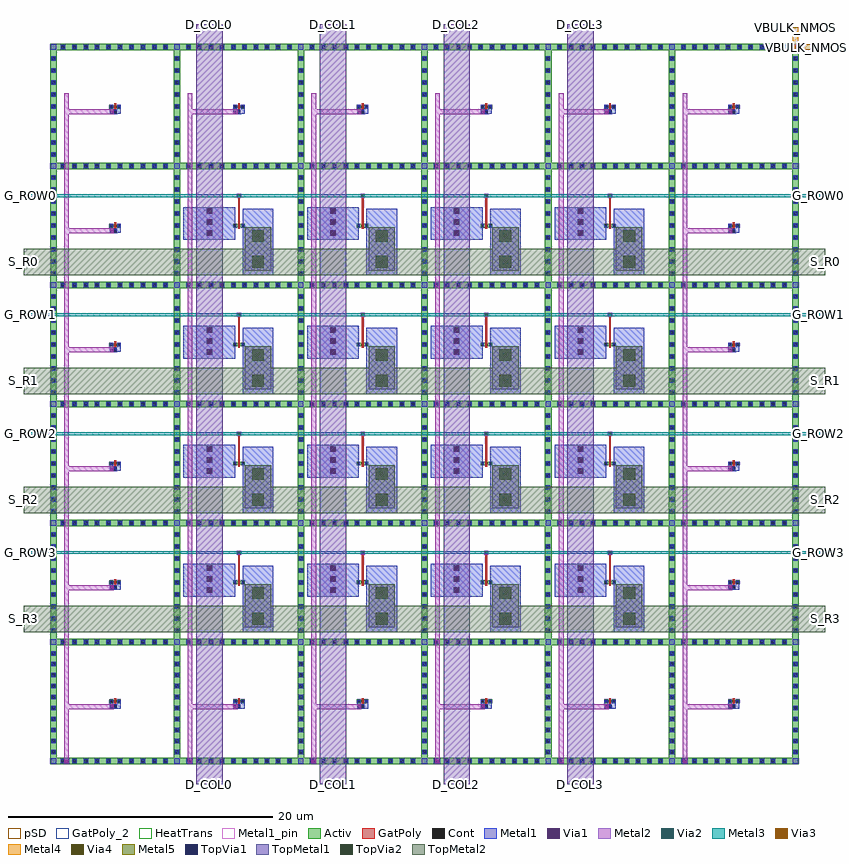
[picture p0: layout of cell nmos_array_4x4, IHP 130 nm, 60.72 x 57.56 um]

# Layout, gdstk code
import gdstk
lib = gdstk.Library(unit=1e-6, precision=1e-09)
def R(c, l, rs):  # rectangles x0, y0, x1, y1
    for r in rs: c.add(gdstk.rectangle(r[:2], r[2:], *l))
def A(c, l, x, y, w, h, nx, ny, dx, dy):  # array of equal rectangles
    R(c, l, [(x+i*dx, y+j*dy, x+i*dx+w, y+j*dy+h) for i in range(nx) for j in range(ny)])
Activ = (1, 0)
GatPoly = (5, 0)
GatPoly_2 = (5, 2)
Cont = (6, 0)
Metal1 = (8, 0)
Metal1_pin = (8, 2)
Metal2 = (10, 0)
pSD = (14, 0)
Via1 = (19, 0)
Via2 = (29, 0)
Metal3 = (30, 0)
Via3 = (49, 0)
Metal4 = (50, 0)
HeatTrans = (51, 0)
Via4 = (66, 0)
Metal5 = (67, 0)
TopVia1 = (125, 0)
TopMetal1 = (126, 0)
TopVia2 = (133, 0)
TopMetal2 = (134, 0)

nmos = lib.new_cell('nmos')
R(nmos, Activ, [(0,0,0.3,0.3), (0.57,0,0.87,0.3), (0,0.075,0.87,0.225)])
R(nmos, GatPoly, [(0.37,-0.105,0.5,0.405)])
R(nmos, GatPoly_2, [(0.37,-0.105,0.5,0.405)])
R(nmos, Cont, [(0.07,0.07,0.23,0.23), (0.64,0.07,0.8,0.23)])
R(nmos, Metal1, [(0.07,0.02,0.23,0.28), (0.64,0.02,0.8,0.28)])
R(nmos, Metal1_pin, [(0.07,0.02,0.23,0.28), (0.64,0.02,0.8,0.28)])
R(nmos, HeatTrans, [(0.37,-0.105,0.5,0.405)])
nmos.add(gdstk.Label('nmos', (0.435,0.15), layer=63, texttype=0))
nmos.add(gdstk.Label('nmos', (0.435,0.15), layer=51, texttype=0))

nmos_array_4x4 = lib.new_cell('nmos_array_4x4')
A(nmos_array_4x4, Activ, 0, 0, 0.5, 54.56, 7, 1, 9.369, 0)
A(nmos_array_4x4, Activ, 0, 0, 56.714, 0.5, 1, 7, 0, 9.01)
A(nmos_array_4x4, GatPoly, 4.869, 4.355, 0.13, 0.2, 6, 2, 9.369, 45.05)
A(nmos_array_4x4, GatPoly, 4.869, 13.365, 0.13, 0.2, 1, 4, 0, 9.01)
A(nmos_array_4x4, GatPoly, 51.714, 13.365, 0.13, 0.2, 1, 4, 0, 9.01)
A(nmos_array_4x4, GatPoly, 14.238, 14.02, 0.13, 2, 4, 4, 9.369, 9.01)
A(nmos_array_4x4, Cont, 0.864, 0.14, 0.22, 0.22, 10, 7, 0.865, 9.01)
A(nmos_array_4x4, Cont, 10.369, 0.14, 0.22, 0.22, 1, 7, 0, 9.01)
A(nmos_array_4x4, Cont, 11.218, 0.14, 0.22, 0.22, 9, 7, 0.85, 9.01)
A(nmos_array_4x4, Cont, 19.738, 0.14, 0.22, 0.22, 1, 7, 0, 9.01)
A(nmos_array_4x4, Cont, 20.587, 0.14, 0.22, 0.22, 9, 7, 0.85, 9.01)
A(nmos_array_4x4, Cont, 29.107, 0.14, 0.22, 0.22, 1, 7, 0, 9.01)
A(nmos_array_4x4, Cont, 29.956, 0.14, 0.22, 0.22, 9, 7, 0.85, 9.01)
A(nmos_array_4x4, Cont, 38.476, 0.14, 0.22, 0.22, 1, 7, 0, 9.01)
A(nmos_array_4x4, Cont, 39.325, 0.14, 0.22, 0.22, 9, 7, 0.85, 9.01)
A(nmos_array_4x4, Cont, 47.845, 0.14, 0.22, 0.22, 1, 7, 0, 9.01)
A(nmos_array_4x4, Cont, 48.694, 0.14, 0.22, 0.22, 9, 7, 0.85, 9.01)
A(nmos_array_4x4, Cont, 0.14, 0.829, 0.22, 0.22, 7, 10, 9.369, 0.829)
A(nmos_array_4x4, Cont, 4.824, 4.245, 0.22, 0.22, 6, 2, 9.369, 45.05)
A(nmos_array_4x4, Cont, 0.14, 10.01, 0.22, 0.22, 7, 4, 9.369, 0.911)
A(nmos_array_4x4, Cont, 4.824, 13.255, 0.22, 0.22, 1, 4, 0, 9.01)
A(nmos_array_4x4, Cont, 51.669, 13.255, 0.22, 0.22, 1, 4, 0, 9.01)
A(nmos_array_4x4, Cont, 0.14, 13.655, 0.22, 0.22, 7, 4, 9.369, 0.911)
A(nmos_array_4x4, Cont, 14.193, 15.91, 0.22, 0.22, 4, 4, 9.369, 9.01)
A(nmos_array_4x4, Cont, 0.14, 17.3, 0.22, 0.22, 7, 2, 9.369, 1.72)
A(nmos_array_4x4, Cont, 0.14, 19.931, 0.22, 0.22, 7, 3, 9.369, 0.911)
A(nmos_array_4x4, Cont, 0.14, 22.665, 0.22, 0.22, 7, 4, 9.369, 0.911)
A(nmos_array_4x4, Cont, 0.14, 26.31, 0.22, 0.22, 7, 2, 9.369, 1.72)
A(nmos_array_4x4, Cont, 0.14, 28.941, 0.22, 0.22, 7, 3, 9.369, 0.911)
A(nmos_array_4x4, Cont, 0.14, 31.675, 0.22, 0.22, 7, 4, 9.369, 0.911)
A(nmos_array_4x4, Cont, 0.14, 35.32, 0.22, 0.22, 7, 2, 9.369, 1.72)
A(nmos_array_4x4, Cont, 0.14, 37.951, 0.22, 0.22, 7, 3, 9.369, 0.911)
A(nmos_array_4x4, Cont, 0.14, 40.685, 0.22, 0.22, 7, 4, 9.369, 0.911)
A(nmos_array_4x4, Cont, 0.14, 44.33, 0.22, 0.22, 7, 2, 9.369, 1.72)
A(nmos_array_4x4, Cont, 0.14, 46.961, 0.22, 0.22, 7, 3, 9.369, 0.911)
A(nmos_array_4x4, Cont, 0.14, 49.695, 0.22, 0.22, 7, 4, 9.369, 0.911)
A(nmos_array_4x4, Cont, 0.14, 53.34, 0.22, 0.22, 7, 1, 9.369, 0)
A(nmos_array_4x4, Metal1, 0.804, 0.08, 0.34, 0.34, 10, 7, 0.865, 9.01)
A(nmos_array_4x4, Metal1, 10.309, 0.08, 0.34, 0.34, 1, 7, 0, 9.01)
A(nmos_array_4x4, Metal1, 11.158, 0.08, 0.34, 0.34, 9, 7, 0.85, 9.01)
A(nmos_array_4x4, Metal1, 19.678, 0.08, 0.34, 0.34, 1, 7, 0, 9.01)
A(nmos_array_4x4, Metal1, 20.527, 0.08, 0.34, 0.34, 9, 7, 0.85, 9.01)
A(nmos_array_4x4, Metal1, 29.047, 0.08, 0.34, 0.34, 1, 7, 0, 9.01)
A(nmos_array_4x4, Metal1, 29.896, 0.08, 0.34, 0.34, 9, 7, 0.85, 9.01)
A(nmos_array_4x4, Metal1, 38.416, 0.08, 0.34, 0.34, 1, 7, 0, 9.01)
A(nmos_array_4x4, Metal1, 39.265, 0.08, 0.34, 0.34, 9, 7, 0.85, 9.01)
A(nmos_array_4x4, Metal1, 47.785, 0.08, 0.34, 0.34, 1, 7, 0, 9.01)
A(nmos_array_4x4, Metal1, 48.634, 0.08, 0.34, 0.34, 9, 7, 0.85, 9.01)
A(nmos_array_4x4, Metal1, 0.08, 0.769, 0.34, 0.34, 7, 10, 9.369, 0.829)
A(nmos_array_4x4, Metal1, 4.764, 4.185, 0.34, 0.34, 6, 2, 9.369, 45.05)
A(nmos_array_4x4, Metal1, 4.509, 4.215, 0.28, 0.68, 1, 6, 0, 9.01)
A(nmos_array_4x4, Metal1, 4.509, 4.215, 0.85, 0.28, 6, 2, 9.369, 45.05)
A(nmos_array_4x4, Metal1, 5.079, 4.215, 0.28, 0.68, 1, 6, 0, 9.01)
A(nmos_array_4x4, Metal1, 51.354, 4.215, 0.28, 0.68, 1, 6, 0, 9.01)
A(nmos_array_4x4, Metal1, 51.924, 4.215, 0.28, 0.68, 1, 6, 0, 9.01)
A(nmos_array_4x4, Metal1, 0.05, 9.06, 0.4, 0.4, 7, 6, 9.369, 9.01)
A(nmos_array_4x4, Metal1, 0.08, 9.95, 0.34, 0.34, 7, 4, 9.369, 0.911)
A(nmos_array_4x4, Metal1, 14.588, 10.01, 2.32, 5.02, 4, 4, 9.369, 9.01)
A(nmos_array_4x4, Metal1, 10.098, 12.671, 3.92, 2.499, 4, 4, 9.369, 9.01)
A(nmos_array_4x4, Metal1, 4.764, 13.195, 0.34, 0.34, 1, 4, 0, 9.01)
A(nmos_array_4x4, Metal1, 51.609, 13.195, 0.34, 0.34, 1, 4, 0, 9.01)
A(nmos_array_4x4, Metal1, 4.509, 13.225, 0.85, 0.28, 1, 4, 0, 9.01)
A(nmos_array_4x4, Metal1, 51.354, 13.225, 0.85, 0.28, 1, 4, 0, 9.01)
A(nmos_array_4x4, Metal1, 0.08, 13.595, 0.34, 0.34, 7, 4, 9.369, 0.911)
A(nmos_array_4x4, Metal1, 14.143, 15.86, 0.32, 0.32, 4, 4, 9.369, 9.01)
A(nmos_array_4x4, Metal1, 0.08, 17.24, 0.34, 0.34, 7, 2, 9.369, 1.72)
A(nmos_array_4x4, Metal1, 0.08, 19.871, 0.34, 0.34, 7, 3, 9.369, 0.911)
A(nmos_array_4x4, Metal1, 0.08, 22.605, 0.34, 0.34, 7, 4, 9.369, 0.911)
A(nmos_array_4x4, Metal1, 0.08, 26.25, 0.34, 0.34, 7, 2, 9.369, 1.72)
A(nmos_array_4x4, Metal1, 0.08, 28.881, 0.34, 0.34, 7, 3, 9.369, 0.911)
A(nmos_array_4x4, Metal1, 0.08, 31.615, 0.34, 0.34, 7, 4, 9.369, 0.911)
A(nmos_array_4x4, Metal1, 0.08, 35.26, 0.34, 0.34, 7, 2, 9.369, 1.72)
A(nmos_array_4x4, Metal1, 0.08, 37.891, 0.34, 0.34, 7, 3, 9.369, 0.911)
A(nmos_array_4x4, Metal1, 0.08, 40.625, 0.34, 0.34, 7, 4, 9.369, 0.911)
A(nmos_array_4x4, Metal1, 0.08, 44.27, 0.34, 0.34, 7, 2, 9.369, 1.72)
A(nmos_array_4x4, Metal1, 0.08, 46.901, 0.34, 0.34, 7, 3, 9.369, 0.911)
A(nmos_array_4x4, Metal1, 0.08, 49.635, 0.34, 0.34, 7, 4, 9.369, 0.911)
A(nmos_array_4x4, Metal1, 0.08, 53.28, 0.34, 0.34, 7, 1, 9.369, 0)
R(nmos_array_4x4, Metal1, [(0.05,0.05,0.45,0.45), (1.034,0.05,1.434,0.45), (9.419,0.05,9.819,0.45), (10.403,0.05,10.803,0.45), (18.788,0.05,19.188,0.45), (19.772,0.05,20.172,0.45), (28.157,0.05,28.557,0.45), (29.141,0.05,29.541,0.45), (37.526,0.05,37.926,0.45), (38.51,0.05,38.91,0.45), (46.895,0.05,47.295,0.45), (47.879,0.05,48.279,0.45), (56.264,0.05,56.664,0.45), (13.878,4.215,14.158,4.895), (14.448,4.215,14.728,4.895), (23.247,4.215,23.527,4.895), (23.817,4.215,24.097,4.895), (32.616,4.215,32.896,4.895), (33.186,4.215,33.466,4.895), (41.985,4.215,42.265,4.895), (42.555,4.215,42.835,4.895), (13.878,49.265,14.158,49.945), (14.448,49.265,14.728,49.945), (23.247,49.265,23.527,49.945), (23.817,49.265,24.097,49.945), (32.616,49.265,32.896,49.945), (33.186,49.265,33.466,49.945), (41.985,49.265,42.265,49.945), (42.555,49.265,42.835,49.945)])
A(nmos_array_4x4, Metal2, 1.054, 0.07, 0.36, 50.735, 6, 1, 9.369, 0)
A(nmos_array_4x4, Metal2, 1.054, 4.175, 3.775, 0.36, 6, 2, 9.369, 45.05)
A(nmos_array_4x4, Metal2, 15.593, 10.855, 0.31, 0.31, 4, 2, 9.369, 1.96)
A(nmos_array_4x4, Metal2, 11.903, 13.035, 0.31, 0.31, 4, 3, 9.369, 0.84)
A(nmos_array_4x4, Metal2, 1.054, 13.185, 3.775, 0.36, 1, 4, 0, 9.01)
A(nmos_array_4x4, Metal2, 47.899, 13.185, 3.775, 0.36, 1, 4, 0, 9.01)
A(nmos_array_4x4, Metal2, 14.158, 15.875, 0.29, 0.29, 4, 4, 9.369, 9.01)
A(nmos_array_4x4, Metal2, 15.593, 19.865, 0.31, 0.31, 4, 2, 9.369, 1.96)
A(nmos_array_4x4, Metal2, 11.903, 22.045, 0.31, 0.31, 4, 3, 9.369, 0.84)
A(nmos_array_4x4, Metal2, 15.593, 28.875, 0.31, 0.31, 4, 2, 9.369, 1.96)
A(nmos_array_4x4, Metal2, 11.903, 31.055, 0.31, 0.31, 4, 3, 9.369, 0.84)
A(nmos_array_4x4, Metal2, 15.593, 37.885, 0.31, 0.31, 4, 2, 9.369, 1.96)
A(nmos_array_4x4, Metal2, 11.903, 40.065, 0.31, 0.31, 4, 3, 9.369, 0.84)
R(nmos_array_4x4, Metal2, [(56.284,54.13,56.644,54.49)])
A(nmos_array_4x4, pSD, 0, 0, 0.5, 54.56, 7, 1, 9.369, 0)
A(nmos_array_4x4, pSD, 0, 0, 56.714, 0.5, 1, 7, 0, 9.01)
A(nmos_array_4x4, Via1, 1.139, 0.155, 0.19, 0.19, 6, 1, 9.369, 0)
A(nmos_array_4x4, Via1, 4.554, 4.26, 0.19, 0.19, 6, 2, 9.369, 45.05)
A(nmos_array_4x4, Via1, 15.653, 10.915, 0.19, 0.19, 4, 2, 9.369, 1.96)
A(nmos_array_4x4, Via1, 11.963, 13.095, 0.19, 0.19, 4, 3, 9.369, 0.84)
A(nmos_array_4x4, Via1, 4.554, 13.27, 0.19, 0.19, 1, 4, 0, 9.01)
A(nmos_array_4x4, Via1, 51.399, 13.27, 0.19, 0.19, 1, 4, 0, 9.01)
A(nmos_array_4x4, Via1, 14.208, 15.925, 0.19, 0.19, 4, 4, 9.369, 9.01)
A(nmos_array_4x4, Via1, 15.653, 19.925, 0.19, 0.19, 4, 2, 9.369, 1.96)
A(nmos_array_4x4, Via1, 11.963, 22.105, 0.19, 0.19, 4, 3, 9.369, 0.84)
A(nmos_array_4x4, Via1, 15.653, 28.935, 0.19, 0.19, 4, 2, 9.369, 1.96)
A(nmos_array_4x4, Via1, 11.963, 31.115, 0.19, 0.19, 4, 3, 9.369, 0.84)
A(nmos_array_4x4, Via1, 15.653, 37.945, 0.19, 0.19, 4, 2, 9.369, 1.96)
A(nmos_array_4x4, Via1, 11.963, 40.125, 0.19, 0.19, 4, 3, 9.369, 0.84)
R(nmos_array_4x4, Via1, [(56.369,54.215,56.559,54.405)])
A(nmos_array_4x4, Via2, 15.653, 10.915, 0.19, 0.19, 4, 2, 9.369, 1.96)
A(nmos_array_4x4, Via2, 11.963, 13.095, 0.19, 0.19, 4, 3, 9.369, 0.84)
A(nmos_array_4x4, Via2, 14.208, 15.925, 0.19, 0.19, 4, 4, 9.369, 9.01)
A(nmos_array_4x4, Via2, 15.653, 19.925, 0.19, 0.19, 4, 2, 9.369, 1.96)
A(nmos_array_4x4, Via2, 11.963, 22.105, 0.19, 0.19, 4, 3, 9.369, 0.84)
A(nmos_array_4x4, Via2, 15.653, 28.935, 0.19, 0.19, 4, 2, 9.369, 1.96)
A(nmos_array_4x4, Via2, 11.963, 31.115, 0.19, 0.19, 4, 3, 9.369, 0.84)
A(nmos_array_4x4, Via2, 15.653, 37.945, 0.19, 0.19, 4, 2, 9.369, 1.96)
A(nmos_array_4x4, Via2, 11.963, 40.125, 0.19, 0.19, 4, 3, 9.369, 0.84)
R(nmos_array_4x4, Via2, [(56.369,54.215,56.559,54.405)])
A(nmos_array_4x4, Metal3, 15.593, 10.855, 0.31, 0.31, 4, 2, 9.369, 1.96)
A(nmos_array_4x4, Metal3, 11.903, 13.035, 0.31, 0.31, 4, 3, 9.369, 0.84)
A(nmos_array_4x4, Metal3, -1.601, 15.92, 59.915, 0.2, 1, 4, 0, 9.01)
A(nmos_array_4x4, Metal3, 14.203, 15.92, 0.2, 0.2, 4, 4, 9.369, 9.01)
A(nmos_array_4x4, Metal3, 15.593, 19.865, 0.31, 0.31, 4, 2, 9.369, 1.96)
A(nmos_array_4x4, Metal3, 11.903, 22.045, 0.31, 0.31, 4, 3, 9.369, 0.84)
A(nmos_array_4x4, Metal3, 15.593, 28.875, 0.31, 0.31, 4, 2, 9.369, 1.96)
A(nmos_array_4x4, Metal3, 11.903, 31.055, 0.31, 0.31, 4, 3, 9.369, 0.84)
A(nmos_array_4x4, Metal3, 15.593, 37.885, 0.31, 0.31, 4, 2, 9.369, 1.96)
A(nmos_array_4x4, Metal3, 11.903, 40.065, 0.31, 0.31, 4, 3, 9.369, 0.84)
R(nmos_array_4x4, Metal3, [(56.364,54.21,56.564,54.41)])
A(nmos_array_4x4, Via3, 15.653, 10.915, 0.19, 0.19, 4, 2, 9.369, 1.96)
A(nmos_array_4x4, Via3, 11.963, 13.095, 0.19, 0.19, 4, 3, 9.369, 0.84)
A(nmos_array_4x4, Via3, 15.653, 19.925, 0.19, 0.19, 4, 2, 9.369, 1.96)
A(nmos_array_4x4, Via3, 11.963, 22.105, 0.19, 0.19, 4, 3, 9.369, 0.84)
A(nmos_array_4x4, Via3, 15.653, 28.935, 0.19, 0.19, 4, 2, 9.369, 1.96)
A(nmos_array_4x4, Via3, 11.963, 31.115, 0.19, 0.19, 4, 3, 9.369, 0.84)
A(nmos_array_4x4, Via3, 15.653, 37.945, 0.19, 0.19, 4, 2, 9.369, 1.96)
A(nmos_array_4x4, Via3, 11.963, 40.125, 0.19, 0.19, 4, 3, 9.369, 0.84)
R(nmos_array_4x4, Via3, [(56.369,54.215,56.559,54.405)])
A(nmos_array_4x4, Metal4, 15.593, 10.855, 0.31, 0.31, 4, 2, 9.369, 1.96)
A(nmos_array_4x4, Metal4, 11.903, 13.035, 0.31, 0.31, 4, 3, 9.369, 0.84)
A(nmos_array_4x4, Metal4, 15.593, 19.865, 0.31, 0.31, 4, 2, 9.369, 1.96)
A(nmos_array_4x4, Metal4, 11.903, 22.045, 0.31, 0.31, 4, 3, 9.369, 0.84)
A(nmos_array_4x4, Metal4, 15.593, 28.875, 0.31, 0.31, 4, 2, 9.369, 1.96)
A(nmos_array_4x4, Metal4, 11.903, 31.055, 0.31, 0.31, 4, 3, 9.369, 0.84)
A(nmos_array_4x4, Metal4, 15.593, 37.885, 0.31, 0.31, 4, 2, 9.369, 1.96)
A(nmos_array_4x4, Metal4, 11.903, 40.065, 0.31, 0.31, 4, 3, 9.369, 0.84)
R(nmos_array_4x4, Metal4, [(56.264,54.11,57.964,54.51), (56.264,54.11,56.664,55.81)])
A(nmos_array_4x4, Via4, 15.653, 10.915, 0.19, 0.19, 4, 2, 9.369, 1.96)
A(nmos_array_4x4, Via4, 11.963, 13.095, 0.19, 0.19, 4, 3, 9.369, 0.84)
A(nmos_array_4x4, Via4, 15.653, 19.925, 0.19, 0.19, 4, 2, 9.369, 1.96)
A(nmos_array_4x4, Via4, 11.963, 22.105, 0.19, 0.19, 4, 3, 9.369, 0.84)
A(nmos_array_4x4, Via4, 15.653, 28.935, 0.19, 0.19, 4, 2, 9.369, 1.96)
A(nmos_array_4x4, Via4, 11.963, 31.115, 0.19, 0.19, 4, 3, 9.369, 0.84)
A(nmos_array_4x4, Via4, 15.653, 37.945, 0.19, 0.19, 4, 2, 9.369, 1.96)
A(nmos_array_4x4, Via4, 11.963, 40.125, 0.19, 0.19, 4, 3, 9.369, 0.84)
A(nmos_array_4x4, Metal5, 15.593, 10.855, 0.31, 0.31, 4, 2, 9.369, 1.96)
A(nmos_array_4x4, Metal5, 11.903, 13.035, 0.31, 0.31, 4, 3, 9.369, 0.84)
A(nmos_array_4x4, Metal5, 15.593, 19.865, 0.31, 0.31, 4, 2, 9.369, 1.96)
A(nmos_array_4x4, Metal5, 11.903, 22.045, 0.31, 0.31, 4, 3, 9.369, 0.84)
A(nmos_array_4x4, Metal5, 15.593, 28.875, 0.31, 0.31, 4, 2, 9.369, 1.96)
A(nmos_array_4x4, Metal5, 11.903, 31.055, 0.31, 0.31, 4, 3, 9.369, 0.84)
A(nmos_array_4x4, Metal5, 15.593, 37.885, 0.31, 0.31, 4, 2, 9.369, 1.96)
A(nmos_array_4x4, Metal5, 11.903, 40.065, 0.31, 0.31, 4, 3, 9.369, 0.84)
A(nmos_array_4x4, TopVia1, 15.538, 10.8, 0.42, 0.42, 4, 2, 9.369, 1.96)
A(nmos_array_4x4, TopVia1, 11.848, 12.98, 0.42, 0.42, 4, 3, 9.369, 0.84)
A(nmos_array_4x4, TopVia1, 15.538, 19.81, 0.42, 0.42, 4, 2, 9.369, 1.96)
A(nmos_array_4x4, TopVia1, 11.848, 21.99, 0.42, 0.42, 4, 3, 9.369, 0.84)
A(nmos_array_4x4, TopVia1, 15.538, 28.82, 0.42, 0.42, 4, 2, 9.369, 1.96)
A(nmos_array_4x4, TopVia1, 11.848, 31, 0.42, 0.42, 4, 3, 9.369, 0.84)
A(nmos_array_4x4, TopVia1, 15.538, 37.83, 0.42, 0.42, 4, 2, 9.369, 1.96)
A(nmos_array_4x4, TopVia1, 11.848, 40.01, 0.42, 0.42, 4, 3, 9.369, 0.84)
A(nmos_array_4x4, TopMetal1, 11.058, -1.5, 2, 57.56, 4, 1, 9.369, 0)
A(nmos_array_4x4, TopMetal1, 14.748, 10.36, 2, 3.26, 4, 4, 9.369, 9.01)
A(nmos_array_4x4, TopMetal1, 11.058, 12.88, 2, 2.3, 4, 4, 9.369, 9.01)
A(nmos_array_4x4, TopVia2, 15.298, 10.56, 0.9, 0.9, 4, 2, 9.369, 1.96)
A(nmos_array_4x4, TopVia2, 15.298, 19.57, 0.9, 0.9, 4, 2, 9.369, 1.96)
A(nmos_array_4x4, TopVia2, 15.298, 28.58, 0.9, 0.9, 4, 2, 9.369, 1.96)
A(nmos_array_4x4, TopVia2, 15.298, 37.59, 0.9, 0.9, 4, 2, 9.369, 1.96)
A(nmos_array_4x4, TopMetal2, -2.001, 10.01, 60.715, 2, 1, 4, 0, 9.01)
A(nmos_array_4x4, TopMetal2, 14.748, 10.36, 2, 3.26, 4, 4, 9.369, 9.01)
nmos_array_4x4.add(gdstk.Reference(nmos, (4.499,4.605)))
nmos_array_4x4.add(gdstk.Reference(nmos, (13.868,4.605)))
nmos_array_4x4.add(gdstk.Reference(nmos, (23.237,4.605)))
nmos_array_4x4.add(gdstk.Reference(nmos, (32.606,4.605)))
nmos_array_4x4.add(gdstk.Reference(nmos, (41.975,4.605)))
nmos_array_4x4.add(gdstk.Reference(nmos, (51.344,4.605)))
nmos_array_4x4.add(gdstk.Reference(nmos, (4.499,13.615)))
nmos_array_4x4.add(gdstk.Reference(nmos, (13.868,13.615)))
nmos_array_4x4.add(gdstk.Reference(nmos, (23.237,13.615)))
nmos_array_4x4.add(gdstk.Reference(nmos, (32.606,13.615)))
nmos_array_4x4.add(gdstk.Reference(nmos, (41.975,13.615)))
nmos_array_4x4.add(gdstk.Reference(nmos, (51.344,13.615)))
nmos_array_4x4.add(gdstk.Reference(nmos, (4.499,22.625)))
nmos_array_4x4.add(gdstk.Reference(nmos, (13.868,22.625)))
nmos_array_4x4.add(gdstk.Reference(nmos, (23.237,22.625)))
nmos_array_4x4.add(gdstk.Reference(nmos, (32.606,22.625)))
nmos_array_4x4.add(gdstk.Reference(nmos, (41.975,22.625)))
nmos_array_4x4.add(gdstk.Reference(nmos, (51.344,22.625)))
nmos_array_4x4.add(gdstk.Reference(nmos, (4.499,31.635)))
nmos_array_4x4.add(gdstk.Reference(nmos, (13.868,31.635)))
nmos_array_4x4.add(gdstk.Reference(nmos, (23.237,31.635)))
nmos_array_4x4.add(gdstk.Reference(nmos, (32.606,31.635)))
nmos_array_4x4.add(gdstk.Reference(nmos, (41.975,31.635)))
nmos_array_4x4.add(gdstk.Reference(nmos, (51.344,31.635)))
nmos_array_4x4.add(gdstk.Reference(nmos, (4.499,40.645)))
nmos_array_4x4.add(gdstk.Reference(nmos, (13.868,40.645)))
nmos_array_4x4.add(gdstk.Reference(nmos, (23.237,40.645)))
nmos_array_4x4.add(gdstk.Reference(nmos, (32.606,40.645)))
nmos_array_4x4.add(gdstk.Reference(nmos, (41.975,40.645)))
nmos_array_4x4.add(gdstk.Reference(nmos, (51.344,40.645)))
nmos_array_4x4.add(gdstk.Reference(nmos, (4.499,49.655)))
nmos_array_4x4.add(gdstk.Reference(nmos, (13.868,49.655)))
nmos_array_4x4.add(gdstk.Reference(nmos, (23.237,49.655)))
nmos_array_4x4.add(gdstk.Reference(nmos, (32.606,49.655)))
nmos_array_4x4.add(gdstk.Reference(nmos, (41.975,49.655)))
nmos_array_4x4.add(gdstk.Reference(nmos, (51.344,49.655)))
nmos_array_4x4.add(gdstk.Label('VBULK_NMOS', (57.964,54.31), layer=63, texttype=0))
nmos_array_4x4.add(gdstk.Label('VBULK_NMOS', (56.464,55.81), layer=63, texttype=0))
nmos_array_4x4.add(gdstk.Label('G_ROW3', (-1.501,16.02), layer=63, texttype=0))
nmos_array_4x4.add(gdstk.Label('G_ROW3', (58.214,16.02), layer=63, texttype=0))
nmos_array_4x4.add(gdstk.Label('G_ROW2', (-1.501,25.03), layer=63, texttype=0))
nmos_array_4x4.add(gdstk.Label('G_ROW2', (58.214,25.03), layer=63, texttype=0))
nmos_array_4x4.add(gdstk.Label('G_ROW1', (-1.501,34.04), layer=63, texttype=0))
nmos_array_4x4.add(gdstk.Label('G_ROW1', (58.214,34.04), layer=63, texttype=0))
nmos_array_4x4.add(gdstk.Label('G_ROW0', (-1.501,43.05), layer=63, texttype=0))
nmos_array_4x4.add(gdstk.Label('G_ROW0', (58.214,43.05), layer=63, texttype=0))
nmos_array_4x4.add(gdstk.Label('D_COL0', (12.058,-1.5), layer=63, texttype=0))
nmos_array_4x4.add(gdstk.Label('D_COL0', (12.058,56.06), layer=63, texttype=0))
nmos_array_4x4.add(gdstk.Label('D_COL1', (21.427,-1.5), layer=63, texttype=0))
nmos_array_4x4.add(gdstk.Label('D_COL1', (21.427,56.06), layer=63, texttype=0))
nmos_array_4x4.add(gdstk.Label('D_COL2', (30.796,-1.5), layer=63, texttype=0))
nmos_array_4x4.add(gdstk.Label('D_COL2', (30.796,56.06), layer=63, texttype=0))
nmos_array_4x4.add(gdstk.Label('D_COL3', (40.165,-1.5), layer=63, texttype=0))
nmos_array_4x4.add(gdstk.Label('D_COL3', (40.165,56.06), layer=63, texttype=0))
nmos_array_4x4.add(gdstk.Label('S_R3', (-2.001,11.01), layer=63, texttype=0))
nmos_array_4x4.add(gdstk.Label('S_R3', (58.714,11.01), layer=63, texttype=0))
nmos_array_4x4.add(gdstk.Label('S_R2', (-2.001,20.02), layer=63, texttype=0))
nmos_array_4x4.add(gdstk.Label('S_R2', (58.714,20.02), layer=63, texttype=0))
nmos_array_4x4.add(gdstk.Label('S_R1', (-2.001,29.03), layer=63, texttype=0))
nmos_array_4x4.add(gdstk.Label('S_R1', (58.714,29.03), layer=63, texttype=0))
nmos_array_4x4.add(gdstk.Label('S_R0', (-2.001,38.04), layer=63, texttype=0))
nmos_array_4x4.add(gdstk.Label('S_R0', (58.714,38.04), layer=63, texttype=0))

lib.write_gds('nmos_array_4x4.gds')
